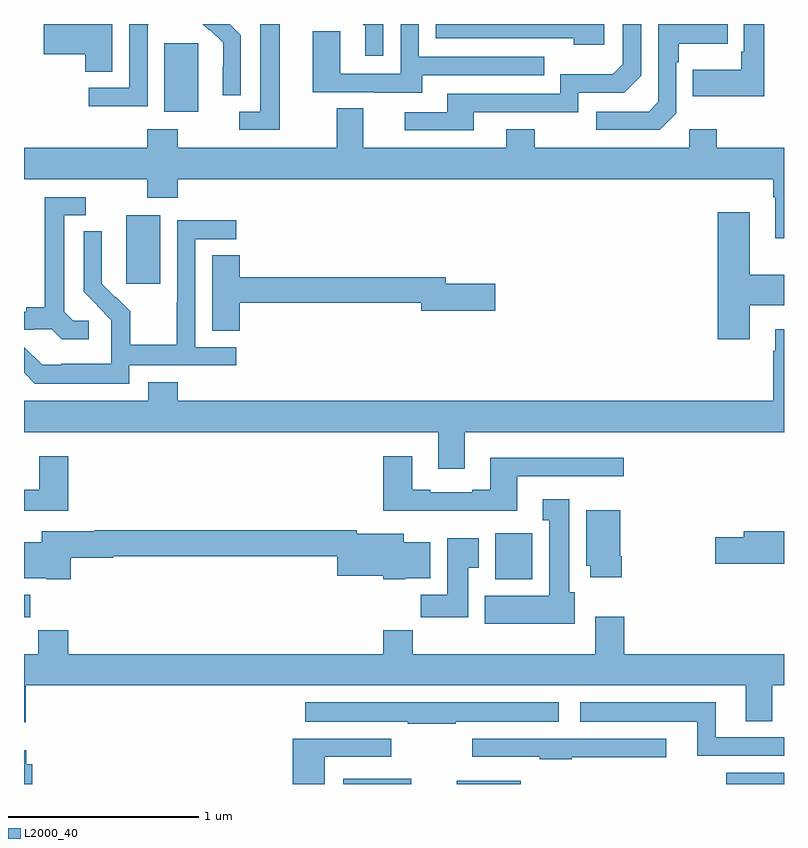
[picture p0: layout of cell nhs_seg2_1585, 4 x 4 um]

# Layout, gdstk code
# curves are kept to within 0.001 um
import gdstk
lib = gdstk.Library(unit=1e-6, precision=1e-09)
def R(c, l, rs):  # rectangles x0, y0, x1, y1
    for r in rs: c.add(gdstk.rectangle(r[:2], r[2:], *l))
def P(c, l, *ps):  # polygons
    for p in ps: c.add(gdstk.Polygon(p, *l))
L2000_40 = (2000, 40)

nhs_seg2_1585 = lib.new_cell('nhs_seg2_1585')
R(nhs_seg2_1585, L2000_40, [(194.681,629.8,195.037,629.827), (195.278,629.8,195.615,629.818), (196.697,629.8,197,629.86), (193,630.678,193.034,630.796), (195.479,630.878,195.676,631.12), (193.538,632.433,193.717,632.794), (193.739,633.338,193.918,633.699)])
P(nhs_seg2_1585, L2000_40, [(193.465,633.8),(193.104,633.8),(193.104,633.641),(193.322,633.641),(193.322,633.55),(193.465,633.55)],
  [(194.142,633.742),(194.084,633.8),(193.942,633.8),(193.974,633.768),(193.977,633.771),(194.048,633.701),(194.048,633.578),(194.046,633.578),(194.046,633.424),(194.142,633.424)],
  [(193.65,633.796),(193.653,633.796),(193.653,633.8),(193.554,633.8),(193.554,633.465),(193.341,633.465),(193.341,633.367),(193.65,633.367)],
  [(196.054,633.8),(195.168,633.8),(195.168,633.726),(195.893,633.726),(195.893,633.692),(196.054,633.692)],
  [(195.367,633.336),(195.918,633.336),(195.918,633.438),(196.158,633.438),(196.248,633.528),(196.248,633.8),(196.152,633.8),(196.152,633.588),(196.099,633.535),(195.822,633.535),(195.822,633.432),(195.227,633.432),(195.227,633.336),(195.003,633.336),(195.003,633.24),(195.367,633.24)],
  [(196.897,633.8),(196.788,633.8),(196.788,633.655),(196.776,633.655),(196.776,633.559),(196.519,633.559),(196.519,633.419),(196.897,633.419)],
  [(195.097,633.531),(195.737,633.531),(195.737,633.627),(195.078,633.627),(195.078,633.8),(194.982,633.8),(194.982,633.537),(194.664,633.537),(194.664,633.761),(194.519,633.761),(194.519,633.441),(194.843,633.441),(194.843,633.437),(195.097,633.437)],
  [(194.892,633.8),(194.784,633.8),(194.795,633.789),(194.795,633.633),(194.892,633.633)],
  [(194.347,633.8),(194.243,633.8),(194.243,633.339),(194.133,633.339),(194.133,633.243),(194.347,633.243)],
  [(196.434,633.33),(196.434,633.599),(196.447,633.599),(196.447,633.695),(196.703,633.695),(196.703,633.8),(196.338,633.8),(196.338,633.39),(196.287,633.339),(196.011,633.339),(196.011,633.243),(196.347,633.243)],
  [(197,633.148),(196.647,633.148),(196.647,633.247),(196.5,633.247),(196.5,633.148),(195.687,633.148),(195.687,633.247),(195.539,633.247),(195.539,633.148),(194.785,633.148),(194.785,633.356),(194.645,633.356),(194.645,633.148),(193.809,633.148),(193.809,633.247),(193.649,633.247),(193.649,633.148),(193,633.148),(193,632.984),(193.648,632.984),(193.648,632.885),(193.808,632.885),(193.808,632.984),(196.943,632.984),(196.943,632.888),(196.955,632.888),(196.955,632.673),(197,632.673)],
  [(193.342,632.238),(193.26,632.238),(193.213,632.285),(193.213,632.793),(193.324,632.793),(193.324,632.889),(193.109,632.889),(193.109,632.309),(193.013,632.309),(193.013,632.286),(193,632.286),(193,632.19),(193.052,632.19),(193.052,632.193),(193.146,632.193),(193.198,632.141),(193.342,632.141)],
  [(196.819,632.321),(197,632.321),(197,632.479),(196.819,632.479),(196.819,632.809),(196.652,632.809),(196.652,632.142),(196.819,632.142)],
  [(193.554,632.004),(194.116,632.004),(194.116,632.1),(193.902,632.1),(193.902,632.667),(194.116,632.667),(194.116,632.766),(193.806,632.766),(193.806,632.336),(193.804,632.336),(193.804,632.113),(193.559,632.113),(193.559,632.287),(193.482,632.364),(193.479,632.361),(193.409,632.432),(193.41,632.708),(193.314,632.708),(193.314,632.39),(193.46,632.242),(193.46,632.145),(193.458,632.145),(193.458,632.011),(193.195,632.011),(193.195,632.007),(193.095,632.007),(193.002,632.1),(193,632.1),(193,631.964),(193.057,631.907),(193.554,631.907)],
  [(194.135,632.332),(195.092,632.332),(195.092,632.29),(195.481,632.29),(195.481,632.432),(195.22,632.432),(195.22,632.468),(194.135,632.468),(194.135,632.582),(193.991,632.582),(193.991,632.185),(194.135,632.185)],
  [(195.319,631.652),(197,631.652),(197,632.194),(196.955,632.194),(196.955,632.081),(196.943,632.081),(196.943,631.816),(193.808,631.816),(193.808,631.915),(193.655,631.915),(193.655,631.816),(193,631.816),(193,631.652),(195.179,631.652),(195.179,631.458),(195.319,631.458)],
  [(193.232,631.525),(193.079,631.525),(193.079,631.348),(193,631.348),(193,631.238),(193.232,631.238)],
  [(195.595,631.419),(196.156,631.419),(196.156,631.516),(195.455,631.516),(195.455,631.348),(195.359,631.348),(195.359,631.335),(195.139,631.335),(195.139,631.348),(195.043,631.348),(195.043,631.525),(194.891,631.525),(194.891,631.238),(195.595,631.238)],
  [(195.898,630.81),(195.871,630.81),(195.871,631.3),(195.731,631.3),(195.731,631.187),(195.764,631.187),(195.764,630.79),(195.425,630.79),(195.425,630.644),(195.898,630.644)],
  [(196.146,631),(196.138,631),(196.138,631.24),(195.959,631.24),(195.959,630.948),(195.98,630.948),(195.98,630.888),(196.146,630.888)],
  [(193.247,630.992),(193.47,630.992),(193.47,631),(194.648,631),(194.648,630.896),(194.892,630.896),(194.892,630.878),(195.006,630.878),(195.006,630.884),(195.139,630.884),(195.139,631.072),(194.998,631.072),(194.998,631.117),(194.752,631.117),(194.752,631.136),(193.37,631.136),(193.37,631.129),(193.094,631.129),(193.094,631.072),(193,631.072),(193,630.884),(193.116,630.884),(193.116,630.878),(193.247,630.878)],
  [(197,631.13),(196.787,631.13),(196.787,631.1),(196.638,631.1),(196.638,630.958),(197,630.958)],
  [(195.337,630.937),(195.394,630.937),(195.394,631.093),(195.227,631.093),(195.227,630.796),(195.088,630.796),(195.088,630.678),(195.337,630.678)],
  [(193.01,630.32),(196.799,630.32),(196.799,630.13),(196.939,630.13),(196.939,630.32),(197,630.32),(197,630.484),(196.16,630.484),(196.16,630.679),(196.007,630.679),(196.007,630.484),(195.047,630.484),(195.047,630.608),(194.891,630.608),(194.891,630.484),(193.232,630.484),(193.232,630.608),(193.075,630.608),(193.075,630.484),(193,630.484),(193,630.126),(193.01,630.126)],
  [(197,630.045),(196.642,630.045),(196.642,630.229),(195.927,630.229),(195.927,630.128),(196.544,630.128),(196.544,629.949),(197,629.949)],
  [(195.272,630.128),(195.814,630.128),(195.814,630.229),(194.481,630.229),(194.481,630.128),(195.019,630.128),(195.019,630.118),(195.272,630.118)],
  [(195.884,629.942),(196.381,629.942),(196.381,630.039),(195.36,630.039),(195.36,629.943),(195.715,629.943),(195.715,629.931),(195.884,629.931)],
  [(194.584,629.943),(194.932,629.943),(194.932,630.039),(194.414,630.039),(194.414,629.8),(194.584,629.8)],
  [(193.043,629.904),(193.012,629.904),(193.012,629.977),(193,629.977),(193,629.8),(193.043,629.8)])

lib.write_gds('nhs_seg2_1585.gds')
